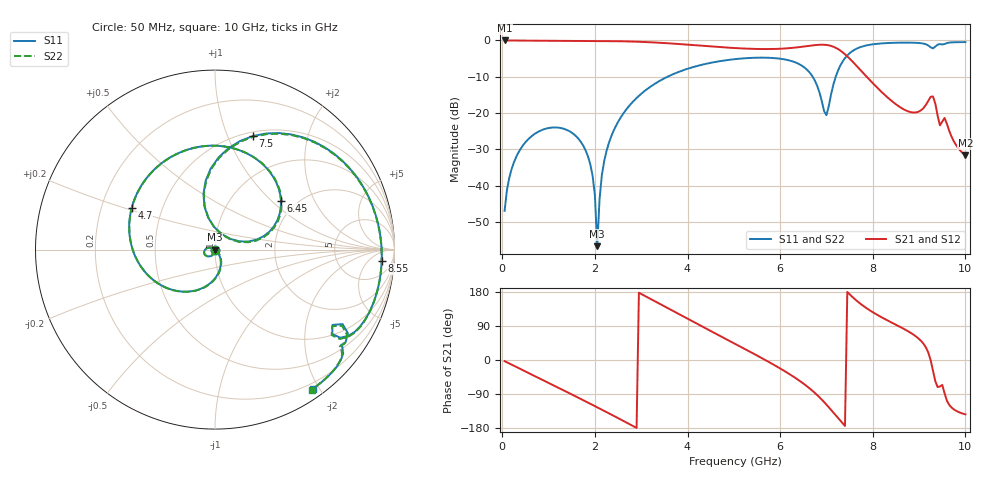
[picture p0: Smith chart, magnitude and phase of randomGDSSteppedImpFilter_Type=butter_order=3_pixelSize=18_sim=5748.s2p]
! freq	dB(S11)	phase(S11)	dB(S12)	phase(S12)
!  dB(S21)	phase(S21)	dB(S22)	phase(S22)
!S-par simulation data
#  GHz  S  DB  R 50
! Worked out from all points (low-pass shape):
!   200 points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, 50 MHz to 10 GHz, reference 50 ohm
!   highest |S21| = -0.01 dB at 50 MHz (marker M1); lowest = -31.6 dB at 10 GHz (marker M2)
!   |S21| within 3 dB of the highest: start of sweep to 7.322 GHz
!   lowest |S11| = -56.6 dB at 2.05 GHz (marker M3), VSWR 1.00, Z = 49.9 - j0.12 ohm
!   |S11| at or under -10 dB: start of sweep to 3.567 GHz; 6.703 GHz to 7.199 GHz (496.4 MHz wide, 7.14 % of centre)
!   |S22| runs from -52.9 to -0.5 dB; largest |S21 - S12| = 0
!   S11 on the Smith chart (normalised r, x): 50 MHz: 1.00, -0.01; 4.7 GHz: 0.33, +0.21; 6.45 GHz: 1.67, +1.15; 7.5 GHz: 0.54, +1.24; 8.55 GHz: 15, -14; 10 GHz: 0.13, -1.92
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0.05  -46.88 -89.0  -0.01 -3.0  -0.01 -3.0  -46.89 -89.2
0.25  -33.57 -104.0  -0.03 -15.2  -0.03 -15.2  -33.58 -104.1
0.65  -26.17 -129.5  -0.07 -39.3  -0.07 -39.3  -26.18 -129.9
1.75  -29.00 163.9  -0.13 -106.2  -0.13 -106.2  -29.00 160.7
1.95  -37.21 153.2  -0.14 -118.6  -0.14 -118.6  -37.19 143.8
2.05  -56.60 -125.8  -0.15 -124.8  -0.15 -124.8  -52.88 61.3
2.15  -37.06 -45.0  -0.16 -131.1  -0.16 -131.1  -36.97 -34.6
2.35  -26.49 -55.6  -0.19 -143.8  -0.19 -143.8  -26.47 -52.4
3.4  -11.11 -122.8  -0.64 148.0  -0.64 148.0  -11.11 -122.4
4.05  -7.60 -164.9  -1.21 105.6  -1.21 105.6  -7.60 -164.9
4.7  -5.70 153.5  -1.83 63.7  -1.83 63.7  -5.70 153.2
5.05  -5.11 131.2  -2.12 41.2  -2.12 41.2  -5.12 130.8
5.8  -4.80 82.5  -2.36 -8.3  -2.36 -8.3  -4.80 81.8
6.45  -6.80 36.5  -1.78 -57.5  -1.78 -57.5  -6.81 35.6
6.7  -9.93 18.2  -1.36 -81.5  -1.36 -81.5  -9.94 17.2
7  -20.56 64.8  -1.24 -117.8  -1.24 -117.8  -20.73 64.2
7.5  -3.52 71.5  -5.00 173.4  -5.00 173.4  -3.52 70.9
8.35  -0.70 6.6  -16.02 102.4  -16.02 102.4  -0.70 6.0
8.55  -0.62 -3.9  -18.02 89.9  -18.02 89.9  -0.62 -4.5
9.3  -2.18 -32.6  -15.42 -28.3  -15.42 -28.3  -2.16 -33.2
9.45  -0.99 -35.3  -23.36 -69.8  -23.36 -69.8  -0.99 -35.9
10  -0.47 -54.9  -31.59 -143.5  -31.59 -143.5  -0.47 -55.4
